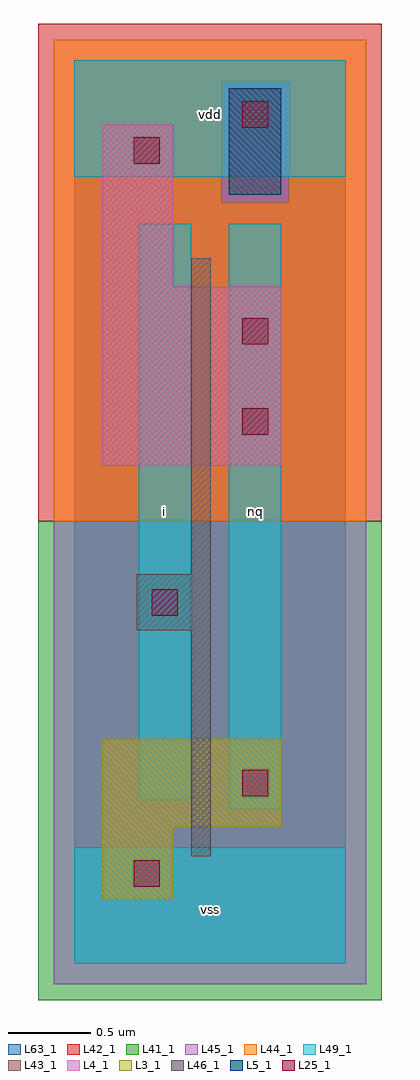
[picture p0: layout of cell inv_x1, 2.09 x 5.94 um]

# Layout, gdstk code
import gdstk
lib = gdstk.Library(unit=1e-6, precision=1e-09)
def R(c, l, rs):  # rectangles x0, y0, x1, y1
    for r in rs: c.add(gdstk.rectangle(r[:2], r[2:], *l))
L3_1 = (3, 1)
L4_1 = (4, 1)
L5_1 = (5, 1)
L25_1 = (25, 1)
L41_1 = (41, 1)
L42_1 = (42, 1)
L43_1 = (43, 1)
L44_1 = (44, 1)
L45_1 = (45, 1)
L46_1 = (46, 1)
L49_1 = (49, 1)
L63_1 = (63, 1)

inv_x1 = lib.new_cell('inv_x1')
R(inv_x1, L3_1, [(0.17,0.39,0.6,0.83), (0.17,0.83,1.26,1.37)])
R(inv_x1, L4_1, [(0.17,3.03,1.26,4.12), (0.17,4.12,0.6,5.11)])
R(inv_x1, L5_1, [(0.94,4.68,1.26,5.33)])
R(inv_x1, L25_1, [(0.36,0.47,0.52,0.63), (1.02,1.02,1.18,1.18), (0.47,2.12,0.63,2.28), (1.02,3.22,1.18,3.38), (1.02,3.77,1.18,3.93), (0.36,4.87,0.52,5.03), (1.02,5.09,1.18,5.25)])
R(inv_x1, L41_1, [(-0.22,-0.22,1.87,2.695)])
R(inv_x1, L42_1, [(-0.22,2.695,1.87,5.72)])
R(inv_x1, L43_1, [(0.17,0.39,0.6,0.83), (0.17,0.83,1.26,1.37), (0.17,3.03,1.26,4.12), (0.17,4.12,0.6,5.11), (0.94,4.68,1.26,5.33)])
R(inv_x1, L44_1, [(-0.125,2.695,1.775,4.635), (-0.125,4.635,0.895,5.375), (1.305,4.635,1.775,5.375), (-0.125,5.375,1.775,5.625)])
R(inv_x1, L45_1, [(-0.125,-0.125,1.775,2.695), (0.895,4.635,1.305,5.375)])
R(inv_x1, L46_1, [(0.71,0.655,0.83,2.03), (0.38,2.03,0.83,2.37), (0.71,2.37,0.83,4.295)])
R(inv_x1, L49_1, [(0,0,1.65,0.71), (0.94,0.94,1.26,4.505), (0.39,0.995,0.71,4.505), (0,4.79,1.65,5.5)])
R(inv_x1, L63_1, [(0,0,1.65,5.5)])
inv_x1.add(gdstk.Label('vss', (0.825,0.33), layer=49, texttype=1))
inv_x1.add(gdstk.Label('vss', (0.825,0.33), layer=49, texttype=1))
inv_x1.add(gdstk.Label('i', (0.55,2.75), layer=49, texttype=1))
inv_x1.add(gdstk.Label('i', (0.55,2.75), layer=49, texttype=1))
inv_x1.add(gdstk.Label('vdd', (0.825,5.17), layer=49, texttype=1))
inv_x1.add(gdstk.Label('vdd', (0.825,5.17), layer=49, texttype=1))
inv_x1.add(gdstk.Label('nq', (1.1,2.75), layer=49, texttype=1))
inv_x1.add(gdstk.Label('nq', (1.1,2.75), layer=49, texttype=1))

lib.write_gds('inv_x1.gds')
